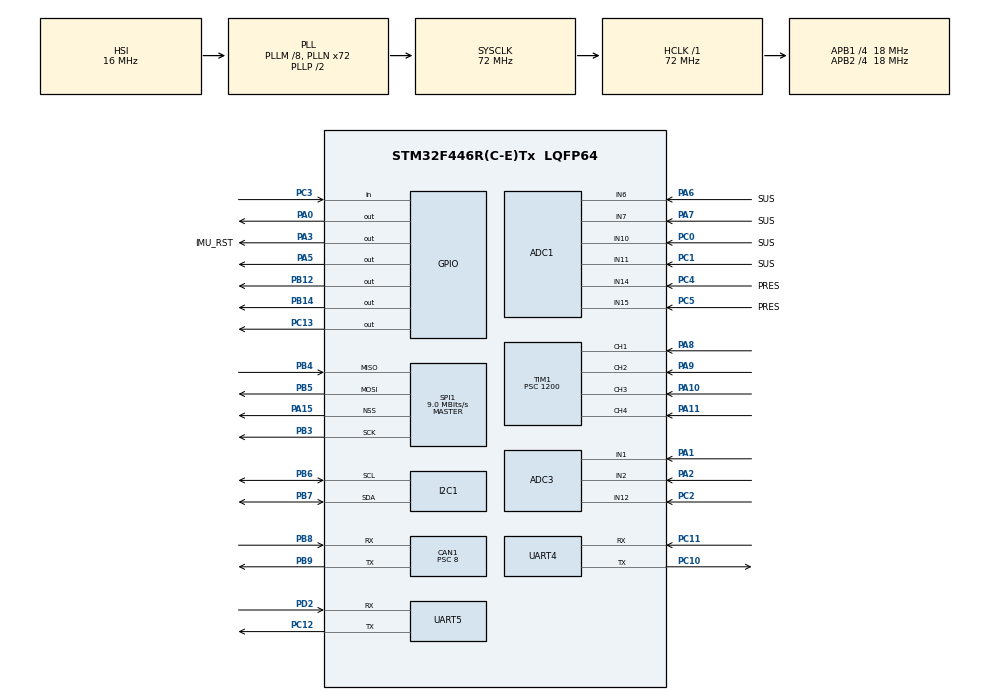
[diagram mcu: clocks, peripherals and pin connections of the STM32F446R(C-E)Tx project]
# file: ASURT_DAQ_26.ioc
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ADC1.Channel-10\#ChannelRegularConversion=ADC_CHANNEL_14
ADC1.Channel-11\#ChannelRegularConversion=ADC_CHANNEL_15
ADC1.Channel-6\#ChannelRegularConversion=ADC_CHANNEL_6
ADC1.Channel-7\#ChannelRegularConversion=ADC_CHANNEL_7
ADC1.Channel-8\#ChannelRegularConversion=ADC_CHANNEL_10
ADC1.Channel-9\#ChannelRegularConversion=ADC_CHANNEL_11
ADC1.ContinuousConvMode=ENABLE
ADC1.DMAContinuousRequests=ENABLE
ADC1.NbrOfConversion=6
ADC1.NbrOfConversionFlag=1
ADC1.Rank-10\#ChannelRegularConversion=5
ADC1.Rank-11\#ChannelRegularConversion=6
ADC1.Rank-6\#ChannelRegularConversion=1
ADC1.Rank-7\#ChannelRegularConversion=2
ADC1.Rank-8\#ChannelRegularConversion=3
ADC1.Rank-9\#ChannelRegularConversion=4
ADC1.SamplingTime-10\#ChannelRegularConversion=ADC_SAMPLETIME_56CYCLES
ADC1.SamplingTime-11\#ChannelRegularConversion=ADC_SAMPLETIME_56CYCLES
ADC1.SamplingTime-6\#ChannelRegularConversion=ADC_SAMPLETIME_56CYCLES
ADC1.SamplingTime-7\#ChannelRegularConversion=ADC_SAMPLETIME_56CYCLES
ADC1.SamplingTime-8\#ChannelRegularConversion=ADC_SAMPLETIME_56CYCLES
ADC1.SamplingTime-9\#ChannelRegularConversion=ADC_SAMPLETIME_56CYCLES
ADC1.ScanConvMode=ENABLE
ADC1.master=1
ADC3.Channel-5\#ChannelRegularConversion=ADC_CHANNEL_1
ADC3.NbrOfConversionFlag=1
ADC3.Rank-5\#ChannelRegularConversion=1
ADC3.SamplingTime-5\#ChannelRegularConversion=ADC_SAMPLETIME_3CYCLES
CAN1.BS1=CAN_BS1_15TQ
CAN1.BS2=CAN_BS2_2TQ
CAN1.CalculateBaudRate=125000
CAN1.CalculateTimeBit=8000
CAN1.CalculateTimeQuantum=444.44444444444446
CAN1.Prescaler=8
Dma.ADC1.4.Direction=DMA_PERIPH_TO_MEMORY
Dma.ADC1.4.FIFOMode=DMA_FIFOMODE_DISABLE
Dma.ADC1.4.Instance=DMA2_Stream0
Dma.ADC1.4.MemDataAlignment=DMA_MDATAALIGN_HALFWORD
Dma.ADC1.4.MemInc=DMA_MINC_ENABLE
Dma.ADC1.4.Mode=DMA_CIRCULAR
Dma.ADC1.4.PeriphDataAlignment=DMA_PDATAALIGN_HALFWORD
Dma.ADC1.4.PeriphInc=DMA_PINC_DISABLE
Dma.ADC1.4.Priority=DMA_PRIORITY_LOW
Dma.Request0=TIM1_CH1
Dma.Request1=TIM1_CH2
Dma.Request2=TIM1_CH3
Dma.Request3=TIM1_CH4/TRIG/COM
Dma.Request4=ADC1
Dma.TIM1_CH1.0.Direction=DMA_PERIPH_TO_MEMORY
Dma.TIM1_CH1.0.FIFOMode=DMA_FIFOMODE_DISABLE
Dma.TIM1_CH1.0.Instance=DMA2_Stream1
Dma.TIM1_CH1.0.MemDataAlignment=DMA_MDATAALIGN_HALFWORD
Dma.TIM1_CH1.0.MemInc=DMA_MINC_ENABLE
Dma.TIM1_CH1.0.Mode=DMA_CIRCULAR
Dma.TIM1_CH1.0.PeriphDataAlignment=DMA_PDATAALIGN_HALFWORD
Dma.TIM1_CH1.0.PeriphInc=DMA_PINC_DISABLE
Dma.TIM1_CH1.0.Priority=DMA_PRIORITY_LOW
Dma.TIM1_CH2.1.Direction=DMA_PERIPH_TO_MEMORY
Dma.TIM1_CH2.1.FIFOMode=DMA_FIFOMODE_DISABLE
Dma.TIM1_CH2.1.Instance=DMA2_Stream2
Dma.TIM1_CH2.1.MemDataAlignment=DMA_MDATAALIGN_HALFWORD
Dma.TIM1_CH2.1.MemInc=DMA_MINC_ENABLE
Dma.TIM1_CH2.1.Mode=DMA_CIRCULAR
Dma.TIM1_CH2.1.PeriphDataAlignment=DMA_PDATAALIGN_HALFWORD
Dma.TIM1_CH2.1.PeriphInc=DMA_PINC_DISABLE
Dma.TIM1_CH2.1.Priority=DMA_PRIORITY_LOW
Dma.TIM1_CH3.2.Direction=DMA_PERIPH_TO_MEMORY
Dma.TIM1_CH3.2.FIFOMode=DMA_FIFOMODE_DISABLE
Dma.TIM1_CH3.2.Instance=DMA2_Stream6
Dma.TIM1_CH3.2.MemDataAlignment=DMA_MDATAALIGN_HALFWORD
Dma.TIM1_CH3.2.MemInc=DMA_MINC_ENABLE
Dma.TIM1_CH3.2.Mode=DMA_CIRCULAR
Dma.TIM1_CH3.2.PeriphDataAlignment=DMA_PDATAALIGN_HALFWORD
Dma.TIM1_CH3.2.PeriphInc=DMA_PINC_DISABLE
Dma.TIM1_CH3.2.Priority=DMA_PRIORITY_LOW
Dma.TIM1_CH4/TRIG/COM.3.Direction=DMA_PERIPH_TO_MEMORY
Dma.TIM1_CH4/TRIG/COM.3.FIFOMode=DMA_FIFOMODE_DISABLE
Dma.TIM1_CH4/TRIG/COM.3.Instance=DMA2_Stream4
Dma.TIM1_CH4/TRIG/COM.3.MemDataAlignment=DMA_MDATAALIGN_HALFWORD
Dma.TIM1_CH4/TRIG/COM.3.MemInc=DMA_MINC_ENABLE
Dma.TIM1_CH4/TRIG/COM.3.Mode=DMA_CIRCULAR
Dma.TIM1_CH4/TRIG/COM.3.PeriphDataAlignment=DMA_PDATAALIGN_HALFWORD
Dma.TIM1_CH4/TRIG/COM.3.PeriphInc=DMA_PINC_DISABLE
Dma.TIM1_CH4/TRIG/COM.3.Priority=DMA_PRIORITY_LOW
Mcu.Family=STM32F4
Mcu.Name=STM32F446R(C-E)Tx
Mcu.Package=LQFP64
NVIC.CAN1_RX0_IRQn=true\:0\:0\:false\:false\:true\:true\:true\:true
NVIC.DMA2_Stream0_IRQn=true\:0\:0\:false\:false\:true\:false\:true\:true
NVIC.DMA2_Stream1_IRQn=true\:0\:0\:false\:false\:true\:false\:true\:true
NVIC.DMA2_Stream2_IRQn=true\:0\:0\:false\:false\:true\:false\:true\:true
NVIC.DMA2_Stream4_IRQn=true\:0\:0\:false\:false\:true\:false\:true\:true
NVIC.DMA2_Stream6_IRQn=true\:0\:0\:false\:false\:true\:false\:true\:true
NVIC.I2C1_EV_IRQn=true\:1\:0\:true\:false\:true\:true\:true\:true
NVIC.PriorityGroup=NVIC_PRIORITYGROUP_4
NVIC.TIM7_IRQn=true\:4\:0\:true\:false\:true\:false\:true\:true
NVIC.TimeBase=TIM7_IRQn
NVIC.TimeBaseIP=TIM7
PA0-WKUP.Signal=GPIO_Output
PA1.Signal=ADCx_IN1
PA10.Signal=S_TIM1_CH3
PA11.Signal=S_TIM1_CH4
PA13.Mode=Serial_Wire
PA13.Signal=SYS_JTMS-SWDIO
PA14.Mode=Serial_Wire
PA14.Signal=SYS_JTCK-SWCLK
PA15.Mode=NSS_Signal_Hard_Output
PA15.Signal=SPI1_NSS
PA2.Signal=ADCx_IN2
PA3.GPIO_Label=IMU_RST
PA3.Signal=GPIO_Output
PA5.Signal=GPIO_Output
PA6.GPIO_Label=SUS
PA6.Signal=ADCx_IN6
PA7.GPIO_Label=SUS
PA7.Signal=ADCx_IN7
PA8.Signal=S_TIM1_CH1
PA9.Signal=S_TIM1_CH2
PB12.Signal=GPIO_Output
PB14.Signal=GPIO_Output
PB3.Mode=Full_Duplex_Master
PB3.Signal=SPI1_SCK
PB4.Mode=Full_Duplex_Master
PB4.Signal=SPI1_MISO
PB5.Mode=Full_Duplex_Master
PB5.Signal=SPI1_MOSI
PB6.Mode=I2C
PB6.Signal=I2C1_SCL
PB7.Mode=I2C
PB7.Signal=I2C1_SDA
PB8.Mode=CAN_Activate
PB8.Signal=CAN1_RX
PB9.Mode=CAN_Activate
PB9.Signal=CAN1_TX
PC0.GPIO_Label=SUS
PC0.Signal=ADCx_IN10
PC1.GPIO_Label=SUS
PC1.Signal=ADCx_IN11
PC10.Mode=Asynchronous
PC10.Signal=UART4_TX
PC11.Mode=Asynchronous
PC11.Signal=UART4_RX
PC12.Mode=Asynchronous
PC12.Signal=UART5_TX
PC13.Signal=GPIO_Output
PC2.Signal=ADCx_IN12
PC3.Signal=GPIO_Input
PC4.GPIO_Label=PRES
PC4.Signal=ADCx_IN14
PC5.GPIO_Label=PRES
PC5.Signal=ADCx_IN15
PD2.Mode=Asynchronous
PD2.Signal=UART5_RX
PH0-OSC_IN.Mode=HSE-External-Oscillator
PH0-OSC_IN.Signal=RCC_OSC_IN
PH1-OSC_OUT.Mode=HSE-External-Oscillator
PH1-OSC_OUT.Signal=RCC_OSC_OUT
ProjectManager.HeapSize=0x200
ProjectManager.StackSize=0x400
ProjectManager.TargetToolchain=STM32CubeIDE
RCC.AHBFreq_Value=72000000
RCC.APB1CLKDivider=RCC_HCLK_DIV4
RCC.APB1Freq_Value=18000000
RCC.APB1TimFreq_Value=36000000
RCC.APB2CLKDivider=RCC_HCLK_DIV4
RCC.APB2Freq_Value=18000000
RCC.APB2TimFreq_Value=36000000
RCC.CortexFreq_Value=72000000
RCC.HCLKFreq_Value=72000000
RCC.PLLM=8
RCC.PLLN=72
RCC.PLLQ=3
RCC.SYSCLKFreq_VALUE=72000000
RCC.SYSCLKSource=RCC_SYSCLKSOURCE_PLLCLK
RCC.USBFreq_Value=48000000
RCC.VCOOutputFreq_Value=144000000
SH.ADCx_IN1.0=ADC3_IN1,IN1
SH.ADCx_IN10.0=ADC1_IN10,IN10
SH.ADCx_IN11.0=ADC1_IN11,IN11
SH.ADCx_IN12.0=ADC3_IN12,IN12
SH.ADCx_IN14.0=ADC1_IN14,IN14
SH.ADCx_IN15.0=ADC1_IN15,IN15
SH.ADCx_IN2.0=ADC3_IN2,IN2
SH.ADCx_IN6.0=ADC1_IN6,IN6
SH.ADCx_IN7.0=ADC1_IN7,IN7
SH.S_TIM1_CH1.0=TIM1_CH1,Input_Capture1_from_TI1
SH.S_TIM1_CH2.0=TIM1_CH2,Input_Capture2_from_TI2
SH.S_TIM1_CH3.0=TIM1_CH3,Input_Capture3_from_TI3
SH.S_TIM1_CH4.0=TIM1_CH4,Input_Capture4_from_TI4
SPI1.CalculateBaudRate=9.0 MBits/s
SPI1.Direction=SPI_DIRECTION_2LINES
SPI1.Mode=SPI_MODE_MASTER
SPI1.VirtualNSS=VM_NSSHARD
SPI1.VirtualType=VM_MASTER
TIM1.Channel-Input_Capture1_from_TI1=TIM_CHANNEL_1
TIM1.Channel-Input_Capture2_from_TI2=TIM_CHANNEL_2
TIM1.Channel-Input_Capture3_from_TI3=TIM_CHANNEL_3
TIM1.Channel-Input_Capture4_from_TI4=TIM_CHANNEL_4
TIM1.Prescaler=1200
UART4.VirtualMode=Asynchronous
UART5.VirtualMode=Asynchronous
VP_SYS_VS_tim7.Mode=TIM7
VP_TIM1_VS_ClockSourceINT.Mode=Internal
VP_WWDG_VS_WWDG.Mode=WWDG_Activate
WWDG.Counter=127
WWDG.EWIMode=WWDG_EWI_DISABLE
WWDG.Prescaler=WWDG_PRESCALER_8
WWDG.Window=127
board=custom

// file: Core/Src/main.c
/* USER CODE BEGIN Header */
/**
  ******************************************************************************
  * @file           : main.c
  * @brief          : Main program body
  ******************************************************************************
  * @attention
  *
  * Copyright (c) 2025 STMicroelectronics.
  * All rights reserved.
  *
  * This software is licensed under terms that can be found in the LICENSE file
  * in the root directory of this software component.
  * If no LICENSE file comes with this software, it is provided AS-IS.
  *
  ******************************************************************************
  */
/* USER CODE END Header */
#include "main.h"
#include "adc.h"
#include "can.h"
#include "dma.h"
#include "i2c.h"
#include "spi.h"
#include "tim.h"
#include "usart.h"
#include "wwdg.h"
#include "gpio.h"

/* USER CODE BEGIN Includes */
#include "DAQ.h"
#include "Position.h"
#include "Proximity.h"
#include "IMU.h"
#include "GPS.h"
#include "Temperature.h"
/* USER CODE END Includes */

/* USER CODE BEGIN PV */
daq_timestamp_t g_timestamp;
daq_fault_log_snapshot_t g_fault_log_snapshot;

TaskHandle_t task_handles[DAQ_NO_OF_TASKS];
SemaphoreHandle_t g_i2c_mutex;

CAN_TxHeaderTypeDef can_tx_header;

bool g_i2c_dma_flags[DAQ_NO_OF_I2C_DMA_DEVICES];
daq_i2c_dma_device_t g_i2c_dma_device = I2C_DMA_NO_DEVICE;
extern fault_record_t g_daq_fault_record;
extern DMA_HandleTypeDef hdma_tim1_ch1, hdma_tim1_ch2, hdma_tim1_ch3, hdma_tim1_ch4_trig_com;
DMA_HandleTypeDef *proximity_dma_handlers[4] = {&hdma_tim1_ch1, &hdma_tim1_ch2, &hdma_tim1_ch3, &hdma_tim1_ch4_trig_com};

imu_axis_map_t imu_axis_map = {
  .x = BNO055_AXIS_X,
  .x_sign = BNO055_AXIS_SIGN_POSITIVE,
  .y = BNO055_AXIS_Y,
  .y_sign = BNO055_AXIS_SIGN_POSITIVE,
  .z = BNO055_AXIS_Z,
  .z_sign = BNO055_AXIS_SIGN_POSITIVE
};

//size_t x,y,z;
/* USER CODE END PV */

void SystemClock_Config(void);
/* USER CODE BEGIN PFP */
void Normal_Blink(void *pvParameters)
{
    for(;;)
    {
    	vTaskDelay(75);
        HAL_GPIO_TogglePin(GPIOA, GPIO_PIN_5);
    }
}
/**
 * @addtogroup Trace_Module
 * @{
 */

/**
 * @brief Initializes the runtime cycle counter for profiling.
 *
 * Enables the DWT cycle counter if not already enabled. This counter
 * is used to measure CPU cycle counts for runtime statistics.
 */
#ifdef DAQ_TRACE_RECORDER
void vInitRunTimeStats(void)
{
	/* Check if Trace Enable bit is not set in the Debug Exception and Monitor Control Register (DEMCR) */
    if(!(CoreDebug->DEMCR & CoreDebug_DEMCR_TRCENA_Msk))
    {
        CoreDebug->DEMCR |= CoreDebug_DEMCR_TRCENA_Msk; //Enable trace and debug blocks by setting the TRCENA bit.
        DWT->CYCCNT = 0; // Clear the cycle count.
        DWT->CTRL |= DWT_CTRL_CYCCNTENA_Msk; //Enable the cycle counter by setting the CYCCNTENA bit in the DWT Control Register.
    }
}
/**
 * @brief Returns the current value of the runtime cycle counter.
 *
 * @return Current DWT cycle count value.
 */
uint32_t ulGetRunTimeCounterValue(void)
{
    return DWT->CYCCNT; // Return the cycle count.
}
/**
 * @brief Task that periodically stops trace recording and triggers an error handler.
 *
 * Runs indefinitely, delaying 1000 ms between iterations. Stops tracing and calls
 * `Error_Handler()`. WWDG should be disabled when using this task to prevent resets.
 * A breakpoint could also be used instead of calling the `Error_Handler()`
 *
 * @param pv Unused parameter.
 */
void vSnapshotTask(void *pv)
{
    while(1)
    {
        vTaskDelay(pdMS_TO_TICKS(1000));
        vTraceStop(); // The snapshot is taken.
        Error_Handler(); // Note: Disable WWDG by commenting the MX_WWDG_Init function.
    }
}
/**
 * @brief Initializes the trace recorder by setting up runtime stats and creating snapshot task.
 *
 * it initializes the runtime stats, enables tracing, and creates the snapshot task.
 */
void TraceRecorder_Init(void)
{
    vInitRunTimeStats();
    vTraceEnable(TRC_START);
    xTaskCreate(vSnapshotTask, "Trace_Task", 128, NULL, 1, NULL);
}
#endif
/** @}*/
/* USER CODE END PFP */

int main(void)
{

  /* MCU Configuration--------------------------------------------------------*/

  /* Reset of all peripherals, Initializes the Flash interface and the Systick. */
  HAL_Init();

  /* Configure the system clock */
  SystemClock_Config();

  /* USER CODE BEGIN SysInit */
#ifdef DAQ_TRACE_RECORDER
  TraceRecorder_Init();
#endif
  /* USER CODE END SysInit */

  /* Initialize all configured peripherals */
  MX_GPIO_Init();
  MX_DMA_Init();
  MX_ADC1_Init();
  MX_CAN1_Init();
  MX_I2C1_Init();
  MX_SPI1_Init();
  MX_WWDG_Init();
  MX_UART4_Init();
  MX_UART5_Init();
  MX_ADC3_Init();
  MX_TIM1_Init();
  /* USER CODE BEGIN 2 */
  g_i2c_mutex  = xSemaphoreCreateMutex();
  if (g_i2c_mutex == NULL)
	  Error_Handler();
  ADC_Sensors_Init(&hadc1);
  Prox_Init(&htim1, proximity_dma_handlers);
  IMU_Init(&hi2c1, OPERATION_MODE_NDOF, imu_axis_map);
  GPS_Init(&hi2c1);
  Temp_Init(&hi2c1);

  DAQ_CAN_Init(&hcan1, &can_tx_header);
  HAL_CAN_ActivateNotification(&hcan1, CAN_IT_RX_FIFO0_MSG_PENDING);
  HAL_CAN_Start(&hcan1);

  DAQ_FaultLog_Init();
  DAQ_FaultLog_Read(&g_fault_log_snapshot);

  if(g_fault_log_snapshot.current.reset_reason > DAQ_RESET_REASON_MIN &&
	 g_fault_log_snapshot.current.reset_reason < DAQ_RESET_REASON_MAX)
	  xTaskCreate(DAQ_Fault_Blink, "Fault_Blink"	, 64, NULL, 1, NULL);
  else
	  xTaskCreate(Normal_Blink	, "Blink1"		, 64, NULL, 1, NULL);
  for(uint8_t i = 0; i < DAQ_NO_OF_READ_TASKS; i++)
	  g_daq_fault_record.tasks[i].error_count = g_fault_log_snapshot.current.task_records.tasks[i].error_count;

  if(g_daq_fault_record.tasks[PROX_TASK].error_count < DAQ_MAX_ERROR_COUNT)
  	  xTaskCreate(Prox_Task	, "Prox_Task", 256	, NULL, 8, &task_handles[PROX_TASK]);
  else
  {
	  xTaskCreate(Prox_Task	, "Prox_Task", 256	, NULL, 0, &task_handles[PROX_TASK]);
	  g_daq_fault_record.tasks[PROX_TASK].task_demoted = 1;
  }
  if(g_daq_fault_record.tasks[IMU_TASK].error_count < DAQ_MAX_ERROR_COUNT)
	  xTaskCreate(IMU_Task	, "IMU_Task" , 256	, NULL, 7, &task_handles[IMU_TASK]);
  else
  {
	 xTaskCreate(IMU_Task	, "IMU_Task" , 256	, NULL, 0, &task_handles[IMU_TASK]);
	 g_daq_fault_record.tasks[IMU_TASK].task_demoted = 1;
  }
  if(g_daq_fault_record.tasks[GPS_TASK].error_count < DAQ_MAX_ERROR_COUNT)
  	  xTaskCreate(GPS_Task	, "GPS_task" , 256	, NULL, 6, &task_handles[GPS_TASK]);
  else
  {
	  xTaskCreate(GPS_Task	, "GPS_task" , 256	, NULL, 0, &task_handles[GPS_TASK]);
	  g_daq_fault_record.tasks[GPS_TASK].task_demoted = 1;
  }
  if(g_daq_fault_record.tasks[ADC_TASK].error_count < DAQ_MAX_ERROR_COUNT)
	  xTaskCreate(ADC_Task	, "ADC_Task" , 256	, NULL, 5, &task_handles[ADC_TASK]);
  else
  {
	  xTaskCreate(ADC_Task	, "ADC_Task" , 256	, NULL, 0, &task_handles[ADC_TASK]);
	  g_daq_fault_record.tasks[ADC_TASK].task_demoted = 1;
  }
  if(g_daq_fault_record.tasks[TEMP_TASK].error_count < DAQ_MAX_ERROR_COUNT)
	  xTaskCreate(Temp_Task	, "Temp_task", 256 	, NULL, 4, &task_handles[TEMP_TASK]);
  else
  {
	  xTaskCreate(Temp_Task	, "Temp_task", 256 	, NULL, 0, &task_handles[TEMP_TASK]);
	  g_daq_fault_record.tasks[TEMP_TASK].task_demoted = 1;
  }
  xTaskCreate(DAQ_CAN_Tx_Task	, "CAN_TX_TASK" , 128	, NULL, 3, &task_handles[CAN_TX_TASK]);
  xTaskCreate(DAQ_CAN_Rx_Task   , "CAN_RX_TASK", 128   , NULL, 3, &task_handles[CAN_RX_TASK]);
  xTaskCreate(DAQ_WWDG_Task	, "WWDG_task", 128	, NULL, 9, &task_handles[WWDG_TASK]);

  HAL_WWDG_Refresh(&hwwdg);

  vTaskStartScheduler();
  /* USER CODE END 2 */

  /* Infinite loop */
  while (1)
  {

  }
}

void SystemClock_Config(void)
{
  RCC_OscInitTypeDef RCC_OscInitStruct = {0};
  RCC_ClkInitTypeDef RCC_ClkInitStruct = {0};

  /** Configure the main internal regulator output voltage
  */
  __HAL_RCC_PWR_CLK_ENABLE();
  __HAL_PWR_VOLTAGESCALING_CONFIG(PWR_REGULATOR_VOLTAGE_SCALE3);

  /** Initializes the RCC Oscillators according to the specified parameters
  * in the RCC_OscInitTypeDef structure.
  */
  RCC_OscInitStruct.OscillatorType = RCC_OSCILLATORTYPE_HSI;
  RCC_OscInitStruct.HSIState = RCC_HSI_ON;
  RCC_OscInitStruct.HSICalibrationValue = RCC_HSICALIBRATION_DEFAULT;
  RCC_OscInitStruct.PLL.PLLState = RCC_PLL_ON;
  RCC_OscInitStruct.PLL.PLLSource = RCC_PLLSOURCE_HSI;
  RCC_OscInitStruct.PLL.PLLM = 8;
  RCC_OscInitStruct.PLL.PLLN = 72;
  RCC_OscInitStruct.PLL.PLLP = RCC_PLLP_DIV2;
  RCC_OscInitStruct.PLL.PLLQ = 3;
  RCC_OscInitStruct.PLL.PLLR = 2;
  if (HAL_RCC_OscConfig(&RCC_OscInitStruct) != HAL_OK)
  {
    Error_Handler();
  }

  /** Initializes the CPU, AHB and APB buses clocks
  */
  RCC_ClkInitStruct.ClockType = RCC_CLOCKTYPE_HCLK|RCC_CLOCKTYPE_SYSCLK
                              |RCC_CLOCKTYPE_PCLK1|RCC_CLOCKTYPE_PCLK2;
  RCC_ClkInitStruct.SYSCLKSource = RCC_SYSCLKSOURCE_PLLCLK;
  RCC_ClkInitStruct.AHBCLKDivider = RCC_SYSCLK_DIV1;
  RCC_ClkInitStruct.APB1CLKDivider = RCC_HCLK_DIV4;
  RCC_ClkInitStruct.APB2CLKDivider = RCC_HCLK_DIV4;

  if (HAL_RCC_ClockConfig(&RCC_ClkInitStruct, FLASH_LATENCY_2) != HAL_OK)
  {
    Error_Handler();
  }
}

/* USER CODE BEGIN 4 */
void HAL_I2C_MasterRxCpltCallback(I2C_HandleTypeDef *hi2c)
{
	if(!(g_i2c_dma_flags[g_i2c_dma_device]) && g_i2c_dma_device != I2C_DMA_NO_DEVICE)
	{
		g_i2c_dma_flags[g_i2c_dma_device] = true;
		g_i2c_dma_device = I2C_DMA_NO_DEVICE;
	}
}
/* USER CODE END 4 */

void HAL_TIM_PeriodElapsedCallback(TIM_HandleTypeDef *htim)
{
  if (htim->Instance == TIM7)
  {
    HAL_IncTick();
  }
  /* USER CODE BEGIN Callback 1 */
  if (htim->Instance == TIM7)
  {
	  g_timestamp.counter++;
	  if(g_timestamp.counter==1000)
	  {
		  g_timestamp.counter=0;
	      g_timestamp.seconds++;
	      if(g_timestamp.seconds==60)
	      {
	    	  g_timestamp.seconds = 0;
	    	  g_timestamp.minutes++;
	    	  if(g_timestamp.minutes==60)
	    	  {
	    		  g_timestamp.minutes=0;
	    		  g_timestamp.hours++;
	    		  if(g_timestamp.hours==24)
	    			  g_timestamp.hours=0;
	    	  }
	      }
	  }
  }
  /* USER CODE END Callback 1 */
}

void Error_Handler(void)
{
  /* USER CODE BEGIN Error_Handler_Debug */
  /* User can add his own implementation to report the HAL error return state */
  __disable_irq();
  HAL_WWDG_Refresh(&hwwdg);
  fault_log_t log = {0};
  log.reset_reason = DAQ_RESET_REASON_ERRORHANDLER;
  log.task_records = g_daq_fault_record;
  log.timestamp = g_timestamp;
  DAQ_FaultLog_Write(&log);
  while (1)
  {
  }
  /* USER CODE END Error_Handler_Debug */
}
